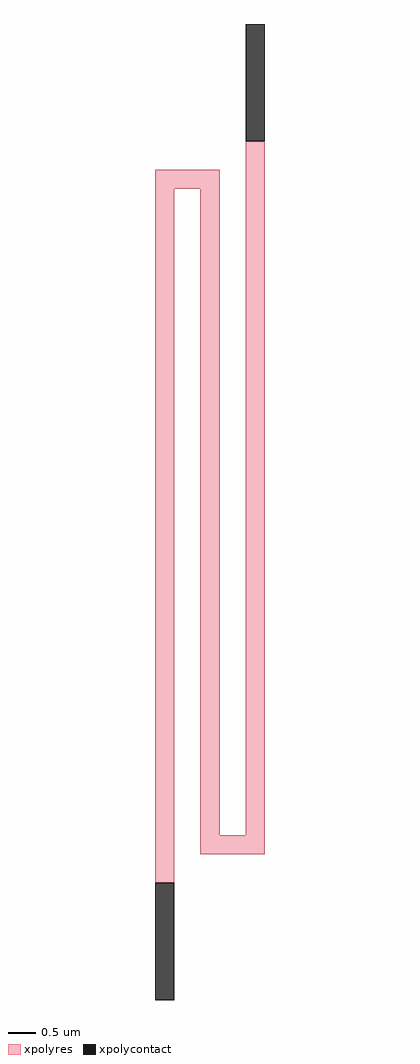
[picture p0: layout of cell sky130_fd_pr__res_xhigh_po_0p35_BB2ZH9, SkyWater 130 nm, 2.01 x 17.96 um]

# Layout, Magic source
magic
tech sky130A
magscale 1 2
<< xpolycontact >>
rect 131 1364 201 1796
rect -201 -1796 -131 -1364
<< xpolyres >>
rect -201 1190 35 1260
rect -201 -1364 -131 1190
rect -35 -1190 35 1190
rect 131 -1190 201 1364
rect -35 -1260 201 -1190
<< properties >>
string gencell sky130_fd_pr__res_xhigh_po_0p35
string library sky130
string parameters w 0.35 l 12.6 m 1 nx 3 wmin 0.350 lmin 0.50 rho 2000 val 221.075k dummy 0 dw 0.0 term 188.2 sterm 0.0 caplen 0 wmax 0.350 guard 0 glc 0 grc 0 gtc 0 gbc 0 compatible {sky130_fd_pr__res_xhigh_po_0p35  sky130_fd_pr__res_xhigh_po_0p69 sky130_fd_pr__res_xhigh_po_1p41  sky130_fd_pr__res_xhigh_po_2p85 sky130_fd_pr__res_xhigh_po_5p73} snake 1 full_metal 0 n_guard 0 hv_guard 0 vias 1 viagb 0 viagt 0 viagl 0 viagr 0
string sky130_fd_pr__res_xhigh_po_0p35_BB2ZH9 parameters
<< end >>
